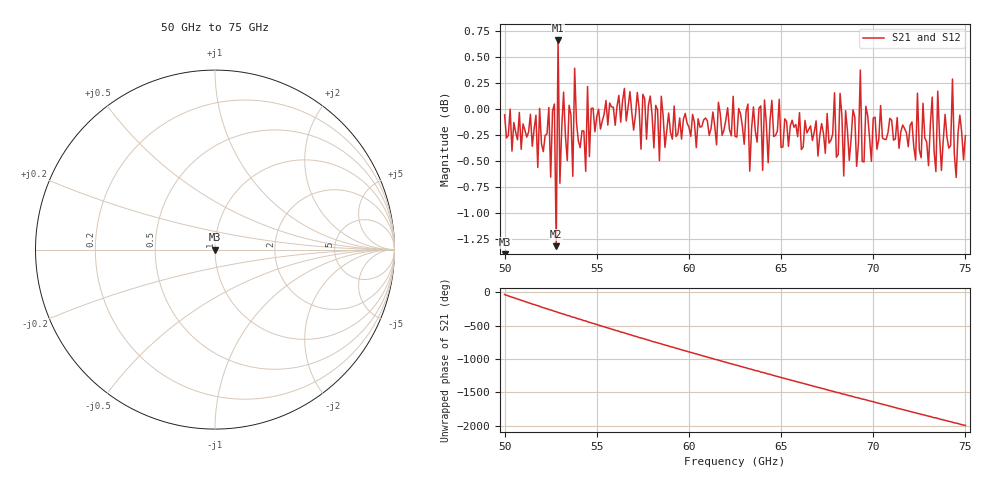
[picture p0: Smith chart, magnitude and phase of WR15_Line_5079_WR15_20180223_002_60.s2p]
# GHZ S RI R 50
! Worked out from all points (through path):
!   251 points, 50 GHz to 75 GHz, reference 50 ohm
!   highest |S21| = 0.66 dB at 52.9 GHz (marker M1); lowest = -1.3 dB at 52.8 GHz (marker M2)
!   lowest |S11| = - dB at 50 GHz (marker M3), VSWR 1.00, Z = 50 + j8.7e-16 ohm
!   |S11| at or under -10 dB: start of sweep to end of sweep
!   |S22| runs from - to - dB; largest |S21 - S12| = 1.5e-15
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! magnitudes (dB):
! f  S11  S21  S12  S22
! 50 GHz  -  -0.1  -0.1  -
! 51.8 GHz  -  -0.6  -0.6  -
! 52.4 GHz  -  0.0  0.0  -
! 52.5 GHz  -  -0.7  -0.7  -
! 52.7 GHz  -  0.1  0.1  -
! 52.8 GHz  -  -1.3  -1.3  -
! 52.9 GHz  -  0.7  0.7  -
! 53 GHz  -  -0.7  -0.7  -
! 53.2 GHz  -  0.2  0.2  -
! 53.7 GHz  -  -0.6  -0.6  -
! 53.8 GHz  -  0.4  0.4  -
! 54.2 GHz  -  -0.2  -0.2  -
! 57.9 GHz  -  0.1  0.1  -
! 58.4 GHz  -  -0.5  -0.5  -
! 58.5 GHz  -  0.1  0.1  -
! 62.5 GHz  -  -0.3  -0.3  -
! 66.7 GHz  -  -0.3  -0.3  -
! 69.1 GHz  -  -0.5  -0.5  -
! 69.3 GHz  -  0.4  0.4  -
! 69.4 GHz  -  -0.5  -0.5  -
! 70.9 GHz  -  -0.1  -0.1  -
! 75 GHz  -  -0.3  -0.3  -
